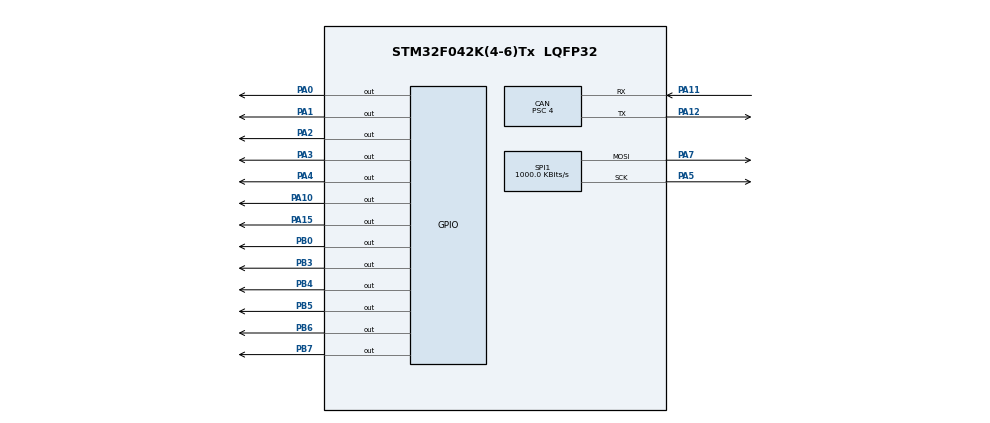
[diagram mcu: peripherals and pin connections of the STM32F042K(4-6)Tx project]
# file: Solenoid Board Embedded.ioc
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CAN.ABOM=ENABLE
CAN.AWUM=ENABLE
CAN.BS1=CAN_BS1_11TQ
CAN.BS2=CAN_BS2_4TQ
CAN.CalculateTimeQuantum=500.0
CAN.Prescaler=4
CAN.SJW=CAN_SJW_4TQ
Mcu.Family=STM32F0
Mcu.Name=STM32F042K(4-6)Tx
Mcu.Package=LQFP32
NVIC.CEC_CAN_IRQn=true\:0\:0\:false\:false\:true\:true
PA0.Signal=GPIO_Output
PA1.Signal=GPIO_Output
PA10.Signal=GPIO_Output
PA11.Mode=Master
PA11.Signal=CAN_RX
PA12.Mode=Master
PA12.Signal=CAN_TX
PA13.Mode=Serial_Wire
PA13.Signal=SYS_SWDIO
PA14.Mode=Serial_Wire
PA14.Signal=SYS_SWCLK
PA15.Signal=GPIO_Output
PA2.Signal=GPIO_Output
PA3.Signal=GPIO_Output
PA4.Signal=GPIO_Output
PA5.Mode=TX_Only_Simplex_Unidirect_Master
PA5.Signal=SPI1_SCK
PA6.Signal=SPI1_MISO
PA7.Mode=TX_Only_Simplex_Unidirect_Master
PA7.Signal=SPI1_MOSI
PB0.Signal=GPIO_Output
PB3.Signal=GPIO_Output
PB4.Signal=GPIO_Output
PB5.Signal=GPIO_Output
PB6.Signal=GPIO_Output
PB7.Signal=GPIO_Output
ProjectManager.HeapSize=0x200
ProjectManager.StackSize=0x400
ProjectManager.TargetToolchain=TrueSTUDIO
SPI1.BaudRatePrescaler=SPI_BAUDRATEPRESCALER_8
SPI1.CalculateBaudRate=1000.0 KBits/s
SPI1.DataSize=SPI_DATASIZE_8BIT
SPI1.Direction=SPI_DIRECTION_2LINES
SPI1.Mode=SPI_MODE_MASTER
SPI1.NSSPMode=SPI_NSS_PULSE_DISABLE
SPI1.VirtualType=VM_MASTER
board=custom

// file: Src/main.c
/* USER CODE BEGIN Header */
/**
  ******************************************************************************
  * @file           : main.c
  * @brief          : Main program body
  ******************************************************************************
  ** This notice applies to any and all portions of this file
  * that are not between comment pairs USER CODE BEGIN and
  * USER CODE END. Other portions of this file, whether
  * inserted by the user or by software development tools
  * are owned by their respective copyright owners.
  *
  * COPYRIGHT(c) 2019 STMicroelectronics
  *
  * Redistribution and use in source and binary forms, with or without modification,
  * are permitted provided that the following conditions are met:
  *   1. Redistributions of source code must retain the above copyright notice,
  *      this list of conditions and the following disclaimer.
  *   2. Redistributions in binary form must reproduce the above copyright notice,
  *      this list of conditions and the following disclaimer in the documentation
  *      and/or other materials provided with the distribution.
  *   3. Neither the name of STMicroelectronics nor the names of its contributors
  *      may be used to endorse or promote products derived from this software
  *      without specific prior written permission.
  *
  * THIS SOFTWARE IS PROVIDED BY THE COPYRIGHT HOLDERS AND CONTRIBUTORS "AS IS"
  * AND ANY EXPRESS OR IMPLIED WARRANTIES, INCLUDING, BUT NOT LIMITED TO, THE
  * IMPLIED WARRANTIES OF MERCHANTABILITY AND FITNESS FOR A PARTICULAR PURPOSE ARE
  * DISCLAIMED. IN NO EVENT SHALL THE COPYRIGHT HOLDER OR CONTRIBUTORS BE LIABLE
  * FOR ANY DIRECT, INDIRECT, INCIDENTAL, SPECIAL, EXEMPLARY, OR CONSEQUENTIAL
  * DAMAGES (INCLUDING, BUT NOT LIMITED TO, PROCUREMENT OF SUBSTITUTE GOODS OR
  * SERVICES; LOSS OF USE, DATA, OR PROFITS; OR BUSINESS INTERRUPTION) HOWEVER
  * CAUSED AND ON ANY THEORY OF LIABILITY, WHETHER IN CONTRACT, STRICT LIABILITY,
  * OR TORT (INCLUDING NEGLIGENCE OR OTHERWISE) ARISING IN ANY WAY OUT OF THE USE
  * OF THIS SOFTWARE, EVEN IF ADVISED OF THE POSSIBILITY OF SUCH DAMAGE.
  *
  ******************************************************************************
  */
/* USER CODE END Header */

#include "main.h"

CAN_HandleTypeDef hcan;

SPI_HandleTypeDef hspi1;

/* USER CODE BEGIN PV */
int SPI_USE = 0;
unsigned char sol_byte;
static CanTxMsgTypeDef        TxMessage;
static CanRxMsgTypeDef        RxMessage;

/* USER CODE END PV */

void SystemClock_Config(void);
static void MX_GPIO_Init(void);
static void MX_CAN_Init(void);
static void MX_SPI1_Init(void);

/* USER CODE BEGIN 0 */
//waits a certain number of nano seconds on a 8 MHz clock
static void nano_wait(int t) {
    asm("       mov r0,%0\n"
        "repeat:\n"
        "       sub r0,#14\n"
        "       bgt repeat\n"
        : : "r"(t) : "r0", "cc");
}
/* USER CODE END 0 */

int main(void)
{

  /* MCU Configuration--------------------------------------------------------*/

  /* Reset of all peripherals, Initializes the Flash interface and the Systick. */
  HAL_Init();

  /* Configure the system clock */
  SystemClock_Config();

  /* Initialize all configured peripherals */
  MX_GPIO_Init();
  MX_CAN_Init();
  MX_SPI1_Init();
  /* USER CODE BEGIN 2 */
  //turns on PA10 in order to convert to 5V logic then clears shift registers
  //also sets G (PB0) to always be low
  if(SPI_USE == 1)
  {
	  HAL_GPIO_WritePin(GPIOA, GPIO_PIN_10, GPIO_PIN_SET);
	  nano_wait(10000);
	  HAL_GPIO_WritePin(GPIOA, GPIO_PIN_3, GPIO_PIN_RESET);
	  nano_wait(10000);
	  HAL_GPIO_WritePin(GPIOA, GPIO_PIN_3, GPIO_PIN_SET);
	  HAL_GPIO_WritePin(GPIOB, GPIO_PIN_0, GPIO_PIN_RESET);
  }

  if (HAL_CAN_Receive_IT(&hcan, CAN_FIFO0) != HAL_OK)
  {
	  Error_Handler();
  }

  /* USER CODE END 2 */

  /* Infinite loop */
  while (1)
  {

  }
}

void SystemClock_Config(void)
{
  RCC_OscInitTypeDef RCC_OscInitStruct = {0};
  RCC_ClkInitTypeDef RCC_ClkInitStruct = {0};

  /**Initializes the CPU, AHB and APB busses clocks
  */
  RCC_OscInitStruct.OscillatorType = RCC_OSCILLATORTYPE_HSI;
  RCC_OscInitStruct.HSIState = RCC_HSI_ON;
  RCC_OscInitStruct.HSICalibrationValue = RCC_HSICALIBRATION_DEFAULT;
  RCC_OscInitStruct.PLL.PLLState = RCC_PLL_NONE;
  if (HAL_RCC_OscConfig(&RCC_OscInitStruct) != HAL_OK)
  {
    Error_Handler();
  }
  /**Initializes the CPU, AHB and APB busses clocks
  */
  RCC_ClkInitStruct.ClockType = RCC_CLOCKTYPE_HCLK|RCC_CLOCKTYPE_SYSCLK
                              |RCC_CLOCKTYPE_PCLK1;
  RCC_ClkInitStruct.SYSCLKSource = RCC_SYSCLKSOURCE_HSI;
  RCC_ClkInitStruct.AHBCLKDivider = RCC_SYSCLK_DIV1;
  RCC_ClkInitStruct.APB1CLKDivider = RCC_HCLK_DIV1;

  if (HAL_RCC_ClockConfig(&RCC_ClkInitStruct, FLASH_LATENCY_0) != HAL_OK)
  {
    Error_Handler();
  }
}

static void MX_CAN_Init(void)
{

  hcan.Instance = CAN;
  hcan.Init.Prescaler = 4;
  hcan.Init.Mode = CAN_MODE_NORMAL;
  hcan.Init.SJW = CAN_SJW_4TQ;
  hcan.Init.BS1 = CAN_BS1_11TQ;
  hcan.Init.BS2 = CAN_BS2_4TQ;
  hcan.Init.TTCM = DISABLE;
  hcan.Init.ABOM = ENABLE;
  hcan.Init.AWUM = ENABLE;
  hcan.Init.NART = DISABLE;
  hcan.Init.RFLM = DISABLE;
  hcan.Init.TXFP = DISABLE;
  if (HAL_CAN_Init(&hcan) != HAL_OK)
  {
    Error_Handler();
  }

}

static void MX_SPI1_Init(void)
{

  /* SPI1 parameter configuration*/
  hspi1.Instance = SPI1;
  hspi1.Init.Mode = SPI_MODE_MASTER;
  hspi1.Init.Direction = SPI_DIRECTION_2LINES;
  hspi1.Init.DataSize = SPI_DATASIZE_8BIT;
  hspi1.Init.CLKPolarity = SPI_POLARITY_LOW;
  hspi1.Init.CLKPhase = SPI_PHASE_1EDGE;
  hspi1.Init.NSS = SPI_NSS_SOFT;
  hspi1.Init.BaudRatePrescaler = SPI_BAUDRATEPRESCALER_8;
  hspi1.Init.FirstBit = SPI_FIRSTBIT_MSB;
  hspi1.Init.TIMode = SPI_TIMODE_DISABLE;
  hspi1.Init.CRCCalculation = SPI_CRCCALCULATION_DISABLE;
  hspi1.Init.CRCPolynomial = 7;
  hspi1.Init.CRCLength = SPI_CRC_LENGTH_DATASIZE;
  hspi1.Init.NSSPMode = SPI_NSS_PULSE_DISABLE;
  if (HAL_SPI_Init(&hspi1) != HAL_OK)
  {
    Error_Handler();
  }

}

static void MX_GPIO_Init(void)
{
  GPIO_InitTypeDef GPIO_InitStruct = {0};

  /* GPIO Ports Clock Enable */
  __HAL_RCC_GPIOA_CLK_ENABLE();
  __HAL_RCC_GPIOB_CLK_ENABLE();

  /*Configure GPIO pin Output Level */
  HAL_GPIO_WritePin(GPIOA, GPIO_PIN_0|GPIO_PIN_1|GPIO_PIN_2|GPIO_PIN_3
                          |GPIO_PIN_4|GPIO_PIN_10|GPIO_PIN_15, GPIO_PIN_RESET);

  /*Configure GPIO pin Output Level */
  HAL_GPIO_WritePin(GPIOB, GPIO_PIN_0|GPIO_PIN_3|GPIO_PIN_4|GPIO_PIN_5
                          |GPIO_PIN_6|GPIO_PIN_7, GPIO_PIN_RESET);

  /*Configure GPIO pins : PA0 PA1 PA2 PA3
                           PA4 PA10 PA15 */
  GPIO_InitStruct.Pin = GPIO_PIN_0|GPIO_PIN_1|GPIO_PIN_2|GPIO_PIN_3
                          |GPIO_PIN_4|GPIO_PIN_10|GPIO_PIN_15;
  GPIO_InitStruct.Mode = GPIO_MODE_OUTPUT_PP;
  GPIO_InitStruct.Pull = GPIO_NOPULL;
  GPIO_InitStruct.Speed = GPIO_SPEED_FREQ_LOW;
  HAL_GPIO_Init(GPIOA, &GPIO_InitStruct);

  /*Configure GPIO pins : PB0 PB3 PB4 PB5
                           PB6 PB7 */
  GPIO_InitStruct.Pin = GPIO_PIN_0|GPIO_PIN_3|GPIO_PIN_4|GPIO_PIN_5
                          |GPIO_PIN_6|GPIO_PIN_7;
  GPIO_InitStruct.Mode = GPIO_MODE_OUTPUT_PP;
  GPIO_InitStruct.Pull = GPIO_NOPULL;
  GPIO_InitStruct.Speed = GPIO_SPEED_FREQ_LOW;
  HAL_GPIO_Init(GPIOB, &GPIO_InitStruct);

}

/* USER CODE BEGIN 4 */
void HAL_CAN_RxCpltCallback(CAN_HandleTypeDef* hcan)
{
	  HAL_GPIO_WritePin(GPIOA, GPIO_PIN_15, GPIO_PIN_SET);
	//If ID is correct and the amount of data being sent is four bytes, converts that data into PWM signals
	if((hcan->pRxMsg->StdId == 0x204))
	{
		sol_byte = hcan->pRxMsg->Data[7];
		if((sol_byte & 0x01) == ((sol_byte>>4) & 0x01))
		{
			//do nothing since this cant happen
		}
		else if(((sol_byte>>1) & 0x01) == ((sol_byte>>5) & 0x01))
		{
			//do nothing since this cant happen
		}
		else if(((sol_byte>>2) & 0x01) == ((sol_byte>>6) & 0x01))
		{
			//do nothing since this cant happen
		}
		else if(((sol_byte>>3) & 0x01) == ((sol_byte>>7) & 0x01))
		{
			//do nothing since this cant happen
		}
		else
		{
			if(SPI_USE == 1)
			{
				HAL_SPI_Transmit(&hspi1, &sol_byte, 1, HAL_MAX_DELAY);
				nano_wait(1000);
				HAL_GPIO_WritePin(GPIOA, GPIO_PIN_4, GPIO_PIN_SET); //R_CLK for shift register
				nano_wait(1000);
				HAL_GPIO_WritePin(GPIOA, GPIO_PIN_4, GPIO_PIN_RESET);// R_CLK for shift register
			}
			else
			{
				HAL_GPIO_WritePin(GPIOB, GPIO_PIN_7, GPIO_PIN_RESET); //GPIO 0 RESET
				HAL_GPIO_WritePin(GPIOB, GPIO_PIN_6, GPIO_PIN_RESET); //GPIO 1 RESET
				HAL_GPIO_WritePin(GPIOB, GPIO_PIN_4, GPIO_PIN_RESET); //GPIO 2 RESET
				HAL_GPIO_WritePin(GPIOB, GPIO_PIN_3, GPIO_PIN_RESET); //GPIO 3 RESET
				HAL_GPIO_WritePin(GPIOB, GPIO_PIN_5, GPIO_PIN_RESET); //GPIO 4 RESET
				HAL_GPIO_WritePin(GPIOA, GPIO_PIN_0, GPIO_PIN_RESET); //GPIO 5 RESET
				HAL_GPIO_WritePin(GPIOA, GPIO_PIN_1, GPIO_PIN_RESET); //GPIO 6 RESET
				HAL_GPIO_WritePin(GPIOA, GPIO_PIN_2, GPIO_PIN_RESET); //GPIO 7 RESET
				if((sol_byte & 0x01) == 0x01)
				{
					HAL_GPIO_WritePin(GPIOB, GPIO_PIN_7, GPIO_PIN_SET); //GPIO 0 SET
				}
				if((sol_byte & 0x02) == 0x02)
				{
					HAL_GPIO_WritePin(GPIOB, GPIO_PIN_6, GPIO_PIN_SET); //GPIO 1 SET
				}
				if((sol_byte & 0x04) == 0x04)
				{
					HAL_GPIO_WritePin(GPIOB, GPIO_PIN_4, GPIO_PIN_SET); //GPIO 2 SET
				}
				if((sol_byte & 0x08) == 0x08)
				{
					HAL_GPIO_WritePin(GPIOB, GPIO_PIN_3, GPIO_PIN_SET); //GPIO 3 SET
				}
				if((sol_byte & 0x10) == 0x10)
				{
					HAL_GPIO_WritePin(GPIOB, GPIO_PIN_5, GPIO_PIN_SET); //GPIO 4 SET
				}
				if((sol_byte & 0x20) == 0x20)
				{
					HAL_GPIO_WritePin(GPIOA, GPIO_PIN_0, GPIO_PIN_SET); //GPIO 5 SET
				}
				if((sol_byte & 0x40) == 0x40)
				{
					HAL_GPIO_WritePin(GPIOA, GPIO_PIN_1, GPIO_PIN_SET); //GPIO 6 SET
				}
				if((sol_byte & 0x10) == 0x10)
				{
					HAL_GPIO_WritePin(GPIOA, GPIO_PIN_2, GPIO_PIN_SET); //GPIO 7 SET
				}
			}
		}
	}
  //necessary portion that restarts the CAN receiving
	if (HAL_CAN_Receive_IT(hcan, CAN_FIFO0) != HAL_OK)
	{
		Error_Handler();
	}
}

/* USER CODE END 4 */

void Error_Handler(void)
{
  /* USER CODE BEGIN Error_Handler_Debug */
  /* User can add his own implementation to report the HAL error return state */
	while(1)
	{
		HAL_GPIO_WritePin(GPIOA, GPIO_PIN_15, GPIO_PIN_RESET);
		nano_wait(10000000);
	}
  /* USER CODE END Error_Handler_Debug */
}

/************************ (C) COPYRIGHT STMicroelectronics *****END OF FILE****/
